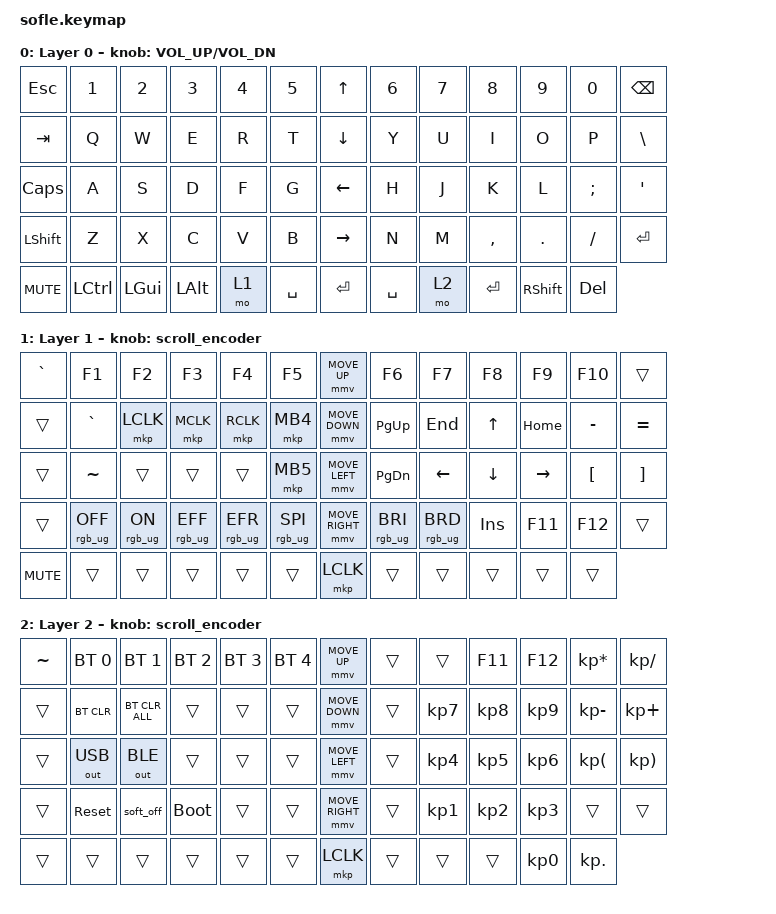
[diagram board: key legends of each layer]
#include <behaviors/mouse_keys.dtsi>
#include <behaviors.dtsi>
#include <dt-bindings/zmk/bt.h>
#include <dt-bindings/zmk/keys.h>
#include <dt-bindings/zmk/mouse.h>
#include <dt-bindings/zmk/outputs.h>
#include <dt-bindings/zmk/rgb.h>

#define ZMK_MOUSE_DEFAULT_MOVE_VAL 1200  // 600
#define ZMK_MOUSE_DEFAULT_SCRL_VAL 20    // 10
#define U_MS_U &mmv MOVE_UP
#define U_MS_D &mmv MOVE_DOWN
#define U_MS_L &mmv MOVE_LEFT
#define U_MS_R &mmv MOVE_RIGHT
#define ZMK_MOUSE_DEFAULT_MOVE_VAL 1200  //  600
#define ZMK_MOUSE_DEFAULT_SCRL_VAL 20    // 10

/ {
    behaviors {
        mmv {
            acceleration-exponent = <1>;      // 1
            time-to-max-speed-ms = <900>;    // 40
            delay-ms = <0>;                   // 0
        };

        msc {
            acceleration-exponent = <1>;      // 0
            time-to-max-speed-ms = <400>;      // 500
            delay-ms = <0>;                   //   10
        };
    };

    scroll_encoder: scroll_encoder {
        compatible = "zmk,behavior-sensor-rotate";
        #sensor-binding-cells = <0>;
        bindings = <&msc SCRL_DOWN>, <&msc SCRL_UP>;

        tap-ms = <30>;
    };

    keymap {
        compatible = "zmk,keymap";

        layer0 {
            bindings = <
&kp ESC     &kp N1     &kp N2        &kp N3        &kp N4  &kp N5       &kp UP_ARROW     &kp N6     &kp N7     &kp N8     &kp N9           &kp N0      &kp BACKSPACE
&kp TAB     &kp Q      &kp W         &kp E         &kp R   &kp T        &kp DOWN_ARROW   &kp Y      &kp U      &kp I      &kp O            &kp P       &kp BSLH
&kp CAPS    &kp A      &kp S         &kp D         &kp F   &kp G        &kp LEFT_ARROW   &kp H      &kp J      &kp K      &kp L            &kp SEMI    &kp APOS
&kp LSHFT   &kp Z      &kp X         &kp C         &kp V   &kp B        &kp RIGHT_ARROW  &kp N      &kp M      &kp COMMA  &kp DOT          &kp FSLH    &kp ENTER
&kp C_MUTE  &kp LCTRL  &kp LEFT_GUI  &kp LEFT_ALT  &mo 1   &kp SPACE    &kp ENTER        &kp SPACE  &mo 2   &kp ENTER  &kp RIGHT_SHIFT  &kp DELETE
            >;

            sensor-bindings = <&inc_dec_kp C_VOLUME_UP C_VOL_DN>;
            display-name = "Layer 0";
        };

        layer_1 {
            bindings = <
&kp GRAVE   &kp F1           &kp F2          &kp F3           &kp F4           &kp F5             &mmv MOVE_UP     &kp F6           &kp F7           &kp F8      &kp F9     &kp F10           &trans
&trans      &kp GRAVE        &mkp LCLK       &mkp MCLK        &mkp RCLK        &mkp MB4           &mmv MOVE_DOWN   &kp PG_UP        &kp END          &kp UP      &kp HOME   &kp MINUS         &kp EQUAL
&trans      &kp TILDE        &trans          &trans           &trans           &mkp MB5           &mmv MOVE_LEFT   &kp PG_DN        &kp LEFT         &kp DOWN    &kp RIGHT  &kp LEFT_BRACKET  &kp RIGHT_BRACKET
&trans      &rgb_ug RGB_OFF  &rgb_ug RGB_ON  &rgb_ug RGB_EFF  &rgb_ug RGB_EFR  &rgb_ug RGB_SPI    &mmv MOVE_RIGHT  &rgb_ug RGB_BRI  &rgb_ug RGB_BRD  &kp INSERT  &kp F11    &kp F12           &trans
&kp C_MUTE  &trans           &trans          &trans           &trans           &trans             &mkp LCLK        &trans           &trans           &trans      &trans     &trans
            >;

            display-name = "Layer 1";
            sensor-bindings = <&scroll_encoder>;
        };

        layer_2 {
            bindings = <
&kp TILDE  &bt BT_SEL 0  &bt BT_SEL 1    &bt BT_SEL 2  &bt BT_SEL 3  &bt BT_SEL 4    &mmv MOVE_UP     &trans  &trans     &kp F11        &kp F12       &kp KP_MULTIPLY &kp KP_DIVIDE
&trans     &bt BT_CLR    &bt BT_CLR_ALL  &trans        &trans        &trans          &mmv MOVE_DOWN   &trans  &kp KP_N7  &kp KP_N8      &kp KP_N9     &kp KP_MINUS    &kp KP_PLUS
&trans     &out OUT_USB  &out OUT_BLE    &trans        &trans        &trans          &mmv MOVE_LEFT   &trans  &kp KP_N4  &kp KP_N5      &kp KP_N6     &kp KP_LPAR     &kp KP_RPAR
&trans     &sys_reset    &soft_off       &bootloader   &trans        &trans          &mmv MOVE_RIGHT  &trans  &kp KP_N1  &kp KP_N2      &kp KP_N3     &trans          &trans
&trans     &trans        &trans          &trans        &trans        &trans          &mkp LCLK        &trans  &trans     &trans         &kp KP_N0     &kp KP_DOT
            >;

            sensor-bindings = <&scroll_encoder>;
            display-name = "Layer 2";
        };
    };
};
